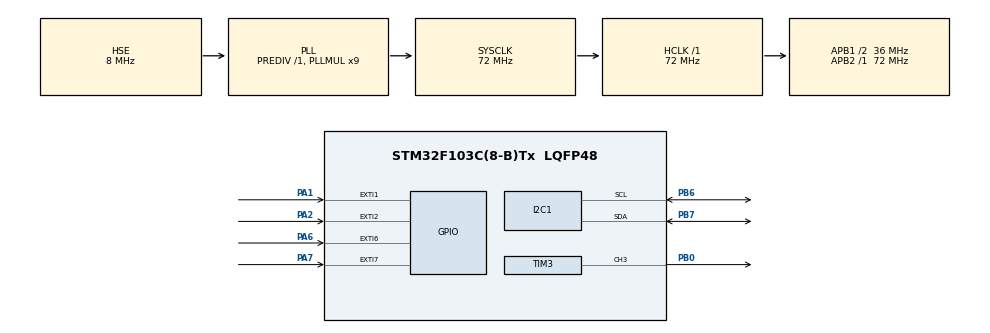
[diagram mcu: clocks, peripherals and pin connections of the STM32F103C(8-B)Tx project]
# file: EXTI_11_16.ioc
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Mcu.Family=STM32F1
Mcu.Name=STM32F103C(8-B)Tx
Mcu.Package=LQFP48
NVIC.EXTI1_IRQn=true\:0\:0\:false\:false\:true\:true\:true\:true
NVIC.EXTI2_IRQn=true\:0\:0\:false\:false\:true\:true\:true\:true
NVIC.EXTI9_5_IRQn=true\:0\:0\:false\:false\:true\:true\:true\:true
NVIC.I2C1_ER_IRQn=true\:0\:0\:false\:false\:true\:true\:true\:true
NVIC.I2C1_EV_IRQn=true\:0\:0\:false\:false\:true\:true\:true\:true
NVIC.PriorityGroup=NVIC_PRIORITYGROUP_4
PA1.GPIO_ModeDefaultEXTI=GPIO_MODE_IT_FALLING
PA1.GPIO_PuPd=GPIO_PULLUP
PA1.Signal=GPXTI1
PA13.Mode=Serial_Wire
PA13.Signal=SYS_JTMS-SWDIO
PA14.Mode=Serial_Wire
PA14.Signal=SYS_JTCK-SWCLK
PA2.GPIO_ModeDefaultEXTI=GPIO_MODE_IT_FALLING
PA2.GPIO_PuPd=GPIO_PULLUP
PA2.Signal=GPXTI2
PA6.GPIO_ModeDefaultEXTI=GPIO_MODE_IT_RISING_FALLING
PA6.GPIO_PuPd=GPIO_PULLUP
PA6.Signal=GPXTI6
PA7.GPIO_ModeDefaultEXTI=GPIO_MODE_IT_RISING_FALLING
PA7.GPIO_PuPd=GPIO_PULLUP
PA7.Signal=GPXTI7
PB0.Signal=S_TIM3_CH3
PB6.Mode=I2C
PB6.Signal=I2C1_SCL
PB7.Mode=I2C
PB7.Signal=I2C1_SDA
PC14-OSC32_IN.Mode=LSE-External-Oscillator
PC14-OSC32_IN.Signal=RCC_OSC32_IN
PC15-OSC32_OUT.Mode=LSE-External-Oscillator
PC15-OSC32_OUT.Signal=RCC_OSC32_OUT
PD0-OSC_IN.Mode=HSE-External-Oscillator
PD0-OSC_IN.Signal=RCC_OSC_IN
PD1-OSC_OUT.Mode=HSE-External-Oscillator
PD1-OSC_OUT.Signal=RCC_OSC_OUT
ProjectManager.HeapSize=0x200
ProjectManager.StackSize=0x400
ProjectManager.TargetToolchain=MDK-ARM V5.32
RCC.AHBFreq_Value=72000000
RCC.APB1CLKDivider=RCC_HCLK_DIV2
RCC.APB1Freq_Value=36000000
RCC.APB1TimFreq_Value=72000000
RCC.APB2Freq_Value=72000000
RCC.APB2TimFreq_Value=72000000
RCC.HCLKFreq_Value=72000000
RCC.PLLMUL=RCC_PLL_MUL9
RCC.PLLSourceVirtual=RCC_PLLSOURCE_HSE
RCC.SYSCLKFreq_VALUE=72000000
RCC.SYSCLKSource=RCC_SYSCLKSOURCE_PLLCLK
RCC.USBFreq_Value=72000000
SH.S_TIM3_CH3.0=TIM3_CH3,PWM Generation3 CH3
TIM3.AutoReloadPreload=TIM_AUTORELOAD_PRELOAD_ENABLE
TIM3.Channel-PWM\ Generation3\ CH3=TIM_CHANNEL_3
TIM3.Period=19999
TIM3.Prescaler=71
TIM3.Pulse-PWM\ Generation3\ CH3=1500
board=custom

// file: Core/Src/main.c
/* USER CODE BEGIN Header */
/**
  ******************************************************************************
  * @file           : main.c
  * @brief          : Main program body
  ******************************************************************************
  * @attention
  *
  * Copyright (c) 2026 STMicroelectronics.
  * All rights reserved.
  *
  * This software is licensed under terms that can be found in the LICENSE file
  * in the root directory of this software component.
  * If no LICENSE file comes with this software, it is provided AS-IS.
  *
  ******************************************************************************
  */
/* USER CODE END Header */
#include "main.h"
#include "i2c.h"
#include "tim.h"
#include "gpio.h"

/* USER CODE BEGIN Includes */
#include "oled.h"
#include "stdio.h"
/* USER CODE END Includes */

/* USER CODE BEGIN PV */
static OLED_t g_oled;
static uint8_t display_dirty = 0U;
volatile int32_t encoder_count = 0;
volatile uint8_t encoder_changed = 0U;
volatile uint8_t button_clear_flag = 0U;
static uint8_t encoder_last_state = 0U;

volatile uint8_t scale_button_flag = 0U;
static uint8_t encoder_scale = 1U;       // 1�?2�?4 �?
static uint32_t last_scale_tick = 0U;
static int32_t encoder_last_detent = 0;
static int32_t display_count = 0;

static const int8_t encoder_table[16] =
{
   0, -1,  1,  0,
   1,  0,  0, -1,
  -1,  0,  0,  1,
   0,  1, -1,  0
};
/* USER CODE END PV */

void SystemClock_Config(void);
/* USER CODE BEGIN PFP */
void HAL_GPIO_EXTI_Callback(uint16_t GPIO_Pin)
{
  if (GPIO_Pin == GPIO_PIN_6 || GPIO_Pin == GPIO_PIN_7)
  {
    uint8_t a = HAL_GPIO_ReadPin(GPIOA, GPIO_PIN_6);
    uint8_t b = HAL_GPIO_ReadPin(GPIOA, GPIO_PIN_7);
    uint8_t current_state = (uint8_t)((a << 1) | b);

    int8_t delta = encoder_table[
        (encoder_last_state << 2) | current_state
    ];

    encoder_last_state = current_state;

    if (delta != 0)
    {
      encoder_count += delta;
      encoder_changed = 1U;
    }
  }
  else if (GPIO_Pin == GPIO_PIN_2)
  {
    button_clear_flag = 1U;
  }
	else if (GPIO_Pin == GPIO_PIN_1)
  {
    scale_button_flag = 1U;
  }
}
/* USER CODE END PFP */

/* USER CODE BEGIN 0 */
static void Servo_SetAngle(int32_t angle)
{
  uint32_t ccr;

  if (angle < -90)
  {
    angle = -90;
  }
  else if (angle > 90)
  {
    angle = 90;
  }

  ccr = (uint32_t)(1500 + (angle * 1000) / 90);

  __HAL_TIM_SET_COMPARE(&htim3, TIM_CHANNEL_3, ccr);
}
/* USER CODE END 0 */

int main(void)
{

  /* MCU Configuration--------------------------------------------------------*/

  /* Reset of all peripherals, Initializes the Flash interface and the Systick. */
  HAL_Init();

  /* Configure the system clock */
  SystemClock_Config();

  /* Initialize all configured peripherals */
  MX_GPIO_Init();
  MX_I2C1_Init();
  MX_TIM3_Init();
  /* USER CODE BEGIN 2 */
	HAL_TIM_PWM_Start(&htim3, TIM_CHANNEL_3);
	Servo_SetAngle(0);
	if (OLED_Init(&g_oled, &hi2c1) != 0U)
{
  OLED_Clear(&g_oled);

  OLED_ShowTextLarge(&g_oled, 0U, 20U, "COUNT READY");

  OLED_Update(&g_oled);
}
	encoder_last_state =
    (HAL_GPIO_ReadPin(GPIOA, GPIO_PIN_6) << 1) |
    HAL_GPIO_ReadPin(GPIOA, GPIO_PIN_7);
  /* USER CODE END 2 */

  /* Infinite loop */
  /* USER CODE BEGIN WHILE */
  while (1)
{
  char count_text[12];
  char title_text[16];

  /* PA2 清零 */
	if (button_clear_flag != 0U)
	{
		button_clear_flag = 0U;

		encoder_count = 0;
		encoder_last_detent = 0;
		display_count = 0;

		Servo_SetAngle(0);

		display_dirty = 1U;
	}

  /* PA1 切换倍率�?1 -> 2 -> 4 -> 1 */
  if (scale_button_flag != 0U)
  {
    uint32_t now = HAL_GetTick();

    scale_button_flag = 0U;

    if ((now - last_scale_tick) >= 200U)
    {
      last_scale_tick = now;

      if (encoder_scale == 1U)
      {
        encoder_scale = 2U;
      }
      else if (encoder_scale == 2U)
      {
        encoder_scale = 4U;
      }
      else
      {
        encoder_scale = 1U;
      }

      display_dirty = 1U;
    }
  }

  /* 编码器四倍频原始计数转成格数 */
  if (encoder_changed != 0U)
  {
    int32_t detent_count;
    int32_t detent_delta;

    encoder_changed = 0U;

    detent_count = encoder_count / 4;
    detent_delta = detent_count - encoder_last_detent;

    if (detent_delta != 0)
    {
      display_count += detent_delta * encoder_scale;
			if (display_count > 90)
			{
				display_count = 90;
			}
			else if (display_count < -90)
			{
				display_count = -90;
			}

      encoder_last_detent = detent_count;

      display_dirty = 1U;
    }
  }

  /* 只有状�?�变化时才刷�? OLED */
  if (display_dirty != 0U)
  {
    display_dirty = 0U;

     Servo_SetAngle(display_count);

  snprintf(count_text,
           sizeof(count_text),
           "%ld du",
           (long)display_count);

	snprintf(title_text,
         sizeof(title_text),
         "ANGLE x%u",
         (unsigned)encoder_scale);

  OLED_ShowTwoLines(&g_oled, title_text, count_text);
}
}
    /* USER CODE END WHILE */

  }

void SystemClock_Config(void)
{
  RCC_OscInitTypeDef RCC_OscInitStruct = {0};
  RCC_ClkInitTypeDef RCC_ClkInitStruct = {0};

  /** Initializes the RCC Oscillators according to the specified parameters
  * in the RCC_OscInitTypeDef structure.
  */
  RCC_OscInitStruct.OscillatorType = RCC_OSCILLATORTYPE_HSE;
  RCC_OscInitStruct.HSEState = RCC_HSE_ON;
  RCC_OscInitStruct.HSEPredivValue = RCC_HSE_PREDIV_DIV1;
  RCC_OscInitStruct.HSIState = RCC_HSI_ON;
  RCC_OscInitStruct.PLL.PLLState = RCC_PLL_ON;
  RCC_OscInitStruct.PLL.PLLSource = RCC_PLLSOURCE_HSE;
  RCC_OscInitStruct.PLL.PLLMUL = RCC_PLL_MUL9;
  if (HAL_RCC_OscConfig(&RCC_OscInitStruct) != HAL_OK)
  {
    Error_Handler();
  }

  /** Initializes the CPU, AHB and APB buses clocks
  */
  RCC_ClkInitStruct.ClockType = RCC_CLOCKTYPE_HCLK|RCC_CLOCKTYPE_SYSCLK
                              |RCC_CLOCKTYPE_PCLK1|RCC_CLOCKTYPE_PCLK2;
  RCC_ClkInitStruct.SYSCLKSource = RCC_SYSCLKSOURCE_PLLCLK;
  RCC_ClkInitStruct.AHBCLKDivider = RCC_SYSCLK_DIV1;
  RCC_ClkInitStruct.APB1CLKDivider = RCC_HCLK_DIV2;
  RCC_ClkInitStruct.APB2CLKDivider = RCC_HCLK_DIV1;

  if (HAL_RCC_ClockConfig(&RCC_ClkInitStruct, FLASH_LATENCY_2) != HAL_OK)
  {
    Error_Handler();
  }
}

void Error_Handler(void)
{
  __disable_irq();
  while (1)
  {
  }
}
